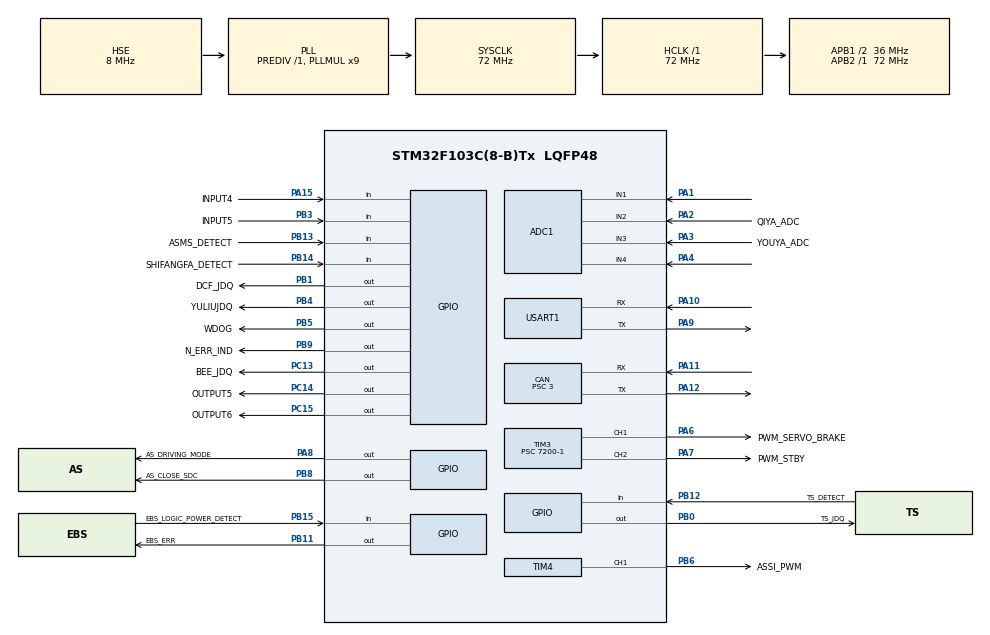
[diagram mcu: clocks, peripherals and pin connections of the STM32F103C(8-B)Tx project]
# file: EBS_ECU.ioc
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ADC1.Channel-0\#ChannelRegularConversion=ADC_CHANNEL_1
ADC1.Channel-1\#ChannelRegularConversion=ADC_CHANNEL_2
ADC1.Channel-2\#ChannelRegularConversion=ADC_CHANNEL_3
ADC1.Channel-3\#ChannelRegularConversion=ADC_CHANNEL_4
ADC1.DiscontinuousConvMode=ENABLE
ADC1.NbrOfConversion=4
ADC1.NbrOfConversionFlag=1
ADC1.Rank-0\#ChannelRegularConversion=1
ADC1.Rank-1\#ChannelRegularConversion=2
ADC1.Rank-2\#ChannelRegularConversion=3
ADC1.Rank-3\#ChannelRegularConversion=4
ADC1.SamplingTime-0\#ChannelRegularConversion=ADC_SAMPLETIME_1CYCLE_5
ADC1.SamplingTime-1\#ChannelRegularConversion=ADC_SAMPLETIME_1CYCLE_5
ADC1.SamplingTime-2\#ChannelRegularConversion=ADC_SAMPLETIME_1CYCLE_5
ADC1.SamplingTime-3\#ChannelRegularConversion=ADC_SAMPLETIME_1CYCLE_5
ADC1.master=1
CAN.AWUM=ENABLE
CAN.BS1=CAN_BS1_6TQ
CAN.BS2=CAN_BS2_5TQ
CAN.CalculateBaudRate=999999
CAN.CalculateTimeBit=1000
CAN.CalculateTimeQuantum=83.33333333333334
CAN.Mode=CAN_MODE_NORMAL
CAN.NART=ENABLE
CAN.Prescaler=3
Dma.Request0=TIM4_CH1
Dma.TIM4_CH1.0.Direction=DMA_MEMORY_TO_PERIPH
Dma.TIM4_CH1.0.Instance=DMA1_Channel1
Dma.TIM4_CH1.0.MemDataAlignment=DMA_MDATAALIGN_HALFWORD
Dma.TIM4_CH1.0.MemInc=DMA_MINC_ENABLE
Dma.TIM4_CH1.0.Mode=DMA_NORMAL
Dma.TIM4_CH1.0.PeriphDataAlignment=DMA_PDATAALIGN_HALFWORD
Dma.TIM4_CH1.0.PeriphInc=DMA_PINC_DISABLE
Dma.TIM4_CH1.0.Priority=DMA_PRIORITY_MEDIUM
Mcu.Family=STM32F1
Mcu.Name=STM32F103C(8-B)Tx
Mcu.Package=LQFP48
NVIC.DMA1_Channel1_IRQn=true\:0\:0\:false\:false\:true\:false\:true\:true
NVIC.PriorityGroup=NVIC_PRIORITYGROUP_4
NVIC.TIM3_IRQn=true\:2\:0\:true\:false\:true\:true\:true\:true
NVIC.USB_LP_CAN1_RX0_IRQn=true\:1\:0\:true\:false\:true\:true\:true\:true
PA1.Signal=ADCx_IN1
PA10.Mode=Asynchronous
PA10.Signal=USART1_RX
PA11.Mode=CAN_Activate
PA11.Signal=CAN_RX
PA12.Mode=CAN_Activate
PA12.Signal=CAN_TX
PA13.Mode=Serial_Wire
PA13.Signal=SYS_JTMS-SWDIO
PA14.Mode=Serial_Wire
PA14.Signal=SYS_JTCK-SWCLK
PA15.GPIO_Label=INPUT4
PA15.Signal=GPIO_Input
PA2.GPIO_Label=QIYA_ADC
PA2.Signal=ADCx_IN2
PA3.GPIO_Label=YOUYA_ADC
PA3.Signal=ADCx_IN3
PA4.Signal=ADCx_IN4
PA6.GPIO_Label=PWM_SERVO_BRAKE
PA6.Signal=S_TIM3_CH1
PA7.GPIO_Label=PWM_STBY
PA7.Signal=S_TIM3_CH2
PA8.GPIO_Label=AS_DRIVING_MODE
PA8.Signal=GPIO_Output
PA9.Mode=Asynchronous
PA9.Signal=USART1_TX
PB0.GPIO_Label=TS_JDQ
PB0.Signal=GPIO_Output
PB1.GPIO_Label=DCF_JDQ
PB1.GPIO_PuPd=GPIO_NOPULL
PB1.Signal=GPIO_Output
PB11.GPIO_Label=EBS_ERR
PB11.PinState=GPIO_PIN_SET
PB11.Signal=GPIO_Output
PB12.GPIO_Label=TS_DETECT
PB12.Signal=GPIO_Input
PB13.GPIO_Label=ASMS_DETECT
PB13.GPIO_PuPd=GPIO_PULLUP
PB13.Signal=GPIO_Input
PB14.GPIO_Label=SHIFANGFA_DETECT
PB14.Signal=GPIO_Input
PB15.GPIO_Label=EBS_LOGIC_POWER_DETECT
PB15.Signal=GPIO_Input
PB3.GPIO_Label=INPUT5
PB3.Signal=GPIO_Input
PB4.GPIO_Label=YULIUJDQ
PB4.Signal=GPIO_Output
PB5.GPIO_Label=WDOG
PB5.Signal=GPIO_Output
PB6.GPIO_Label=ASSI_PWM
PB6.Signal=S_TIM4_CH1
PB8.GPIO_Label=AS_CLOSE_SDC
PB8.Signal=GPIO_Output
PB9.GPIO_Label=N_ERR_IND
PB9.Signal=GPIO_Output
PC13-TAMPER-RTC.GPIO_Label=BEE_JDQ
PC13-TAMPER-RTC.Signal=GPIO_Output
PC14-OSC32_IN.GPIO_Label=OUTPUT5
PC14-OSC32_IN.Signal=GPIO_Output
PC15-OSC32_OUT.GPIO_Label=OUTPUT6
PC15-OSC32_OUT.Signal=GPIO_Output
PD0-OSC_IN.Mode=HSE-External-Oscillator
PD0-OSC_IN.Signal=RCC_OSC_IN
PD1-OSC_OUT.Mode=HSE-External-Oscillator
PD1-OSC_OUT.Signal=RCC_OSC_OUT
ProjectManager.HeapSize=0x200
ProjectManager.StackSize=0x400
ProjectManager.TargetToolchain=STM32CubeIDE
RCC.ADCPresc=RCC_ADCPCLK2_DIV6
RCC.AHBFreq_Value=72000000
RCC.APB1CLKDivider=RCC_HCLK_DIV2
RCC.APB1Freq_Value=36000000
RCC.APB1TimFreq_Value=72000000
RCC.APB2Freq_Value=72000000
RCC.APB2TimFreq_Value=72000000
RCC.HCLKFreq_Value=72000000
RCC.PLLMUL=RCC_PLL_MUL9
RCC.PLLSourceVirtual=RCC_PLLSOURCE_HSE
RCC.SYSCLKFreq_VALUE=72000000
RCC.SYSCLKSource=RCC_SYSCLKSOURCE_PLLCLK
RCC.USBFreq_Value=72000000
SH.ADCx_IN1.0=ADC1_IN1,IN1
SH.ADCx_IN2.0=ADC1_IN2,IN2
SH.ADCx_IN3.0=ADC1_IN3,IN3
SH.ADCx_IN4.0=ADC1_IN4,IN4
SH.S_TIM3_CH1.0=TIM3_CH1,PWM Generation1 CH1
SH.S_TIM3_CH2.0=TIM3_CH2,PWM Generation2 CH2
SH.S_TIM4_CH1.0=TIM4_CH1,PWM Generation1 CH1
TIM2.Period=90-1
TIM3.Channel-PWM\ Generation1\ CH1=TIM_CHANNEL_1
TIM3.Channel-PWM\ Generation2\ CH2=TIM_CHANNEL_2
TIM3.Period=100-1
TIM3.Prescaler=7200-1
TIM4.Channel-PWM\ Generation1\ CH1=TIM_CHANNEL_1
TIM4.Period=90-1
TIM4.Prescaler=0
USART1.VirtualMode=VM_ASYNC
VP_TIM2_VS_ClockSourceINT.Mode=Internal
VP_TIM3_VS_ClockSourceINT.Mode=Internal
VP_TIM4_VS_ClockSourceINT.Mode=Internal
board=custom

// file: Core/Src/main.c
/* USER CODE BEGIN Header */
/**
  ******************************************************************************
  * @file           : main.c
  * @brief          : Main program body
  ******************************************************************************
  * @attention
  *
  * Copyright (c) 2025 STMicroelectronics.
  * All rights reserved.
  *
  * This software is licensed under terms that can be found in the LICENSE file
  * in the root directory of this software component.
  * If no LICENSE file comes with this software, it is provided AS-IS.
  *
  ******************************************************************************
  */
/* USER CODE END Header */
#include "main.h"
#include "adc.h"
#include "can.h"
#include "dma.h"
#include "tim.h"
#include "usart.h"
#include "gpio.h"

/* USER CODE BEGIN Includes */
#include "stdio.h"
#include "user_can.h"
#include "user_adc.h"
#include "user_rgb.h"
#include "user_peripheral.h"
#include "user_AS_State.h"
#include "user_ebs.h"
/* USER CODE END Includes */

/* USER CODE BEGIN PV */
uint8_t EBS_Able_State=EBS_Disable;
uint16_t adc_value[4];
uint8_t AS_State=AS_OFF_Status;//状态机状态

uint8_t Sensor_State=Sensor_OK;
uint8_t YOUYA_State=YOUYA_Error;
uint8_t QIYA_State=QIYA_Error;

uint8_t EBS_to_Trigger;
uint8_t EBS_Error_to_Trigger;

volatile uint8_t Driving_Mode_From_ACU = 0;//驾驶模式，来自域控的指令 0:默认 1:手动驾驶任务 2：无人驾驶任务
//默认状态将AS_Driving_Mode引脚置1，AS_CLOSE_SDC引脚置0
//无人驾驶状态将将AS_Driving_Mode引脚置1，AS_CLOSE_SDC引脚置1
//手动驾驶状态将AS_Driving_Mode引脚置0，AS_CLOSE_SDC引脚置0
volatile uint8_t Go_valid = 0;//0:没有接收到Go信号 1:进入AS_Ready5s后接收到Go信号
volatile uint8_t Task_Finished = 0;//0:默认状态 1:接收到域控传来的任务完成消息
volatile uint8_t ASB_State = 0;//0:ASB有问题 1:没问题
volatile uint8_t TS_State=0;//0:未激活 1:激活
volatile uint8_t ASMS_State=0;//0:未激活 1:激活  无人主开关/无人回路状态
volatile uint8_t adc_to_convert = 0;//0:不转换 1:转换
volatile uint8_t Brake_Release_Status = 0;//0:制动未释放 1:制动释放(根据气压、油压)
volatile uint8_t RES_Status = 0;//0:未触发RES 1:触发RES (来自CAN总线的RES接收端消息)
volatile uint8_t Brake_Motor_State = 0;//0:制动电机有问题 1:制动电机没问题
volatile uint8_t EBS_Trigger_Reason=0;//0:正常触发 1:因为EBS_ERR触发
volatile uint8_t EBS_LOGIC_POWER_STATE=0;//0:断电 1:有电
volatile uint8_t LIDAR_Cam_MPU_State=0;//0:雷达或相机或惯导有问题 1:都没问题

volatile uint8_t blink_enabled = 0; //0 不闪烁  1蓝灯闪烁  2黄灯闪烁
volatile uint8_t BEE_enabled = 0;//0：关闭蜂鸣器 1：EBS鸣笛 2：R2D鸣笛
volatile uint8_t GO_Wait_State = 0;//0:未超过5s 1：超过5s
volatile uint8_t GO_Wait_Count_State = 0;//0:关闭GO计时 1:开始GO计时
volatile uint8_t R2D_State=0;//是否处于R2D状态 0：未处于 1：处于
volatile uint8_t EBS_BEE_STATE=0;//0:EBS不报警 1:EBS报警
volatile uint8_t EBS_Trigger_State=0;//0:EBS未触发 1:EBS触发状态
volatile uint8_t EBS_Test_State=0;//0:EBS未触发或触发未超过2s，不能进行释放检测 1:超过2s，可以进行释放检测
volatile uint8_t led_state = 0;//LED闪烁控制
volatile uint8_t BEE_Sparkle_state = 0;//蜂鸣器间歇鸣笛控制

/*定时器中断计数*/
int WDOG_num=0;
int tim3_num=0;
int tim4_num=0;

/*测试用*/
int can_intterupt=0;

int R2D_MINGDI_num=0;//R2D鸣笛持续时间计数 鸣笛持续时间1-3s
int EBS_MINGDI_num=0;//EBS鸣笛持续时间计数  鸣笛持续时间8-10s
int GO_WAIT_num=0;//进入AS_Ready后，等待AS_Driving的时间计数 等待时间5s
int R2D_num=0;//R2D鸣笛时间的计数
int EBS_BEE_num=0;//EBS鸣笛时间的计数
int BEE_Sparkle_num=0; //控制EBS鸣笛频率和占空比的计数
int ASSI_Sparkle_num=0;//控制ASSI闪烁频率和占空比的计数
int EBS_Trigger_num=0;//检测EBS触发后时间的计数

/* USER CODE END PV */

void SystemClock_Config(void);
/* USER CODE BEGIN PFP */

void EBS_Detect()
{
	//if(JITING_State==1||)
}
void User_Init()
{
	//EBS_Error_LED_Activate();
	DCF_DeActivate();
	BEE_DeActivate();
	N_ERR_IND_UP();//默认把这个引脚拉高，进入AS_OFF时也拉高，触发EBS时才拉低
}

/* USER CODE END PFP */

int main(void)
{

  /* USER CODE BEGIN 1 */
		/******中断的重写在uer_rgb.c*******/
  /* USER CODE END 1 */

  /* MCU Configuration--------------------------------------------------------*/

  /* Reset of all peripherals, Initializes the Flash interface and the Systick. */
  HAL_Init();

  /* Configure the system clock */
  SystemClock_Config();

  /* Initialize all configured peripherals */
  MX_GPIO_Init();
  MX_DMA_Init();
  MX_ADC1_Init();
  MX_CAN_Init();
  MX_TIM2_Init();
  MX_TIM3_Init();
  MX_TIM4_Init();
  MX_USART1_UART_Init();
  /* USER CODE BEGIN 2 */
  User_Init();
  CAN_Init();
  HAL_Delay(100);
  TS_State=0;
  ASMS_State=0;

  //blink_enabled=1;
  HAL_TIM_Base_Start_IT(&htim3);
  //HAL_TIM_Base_Start_IT(&htim4);
  //DCF_Activate();
//  ASSI_Yellow_Stable();
 // ASSI_Yellow_Blink();
  //ASSI_OFF();
  CAN_SendMessage(100,101);

  //ASSI_Set_Blue();
  HAL_Delay(100);

 // ASSI_Set_Blue();
  //WS2812_Update();
 /* BEE_Activate();
  HAL_Delay(100);
  BEE_DeActivate();
  HAL_Delay(100);
  DCF_Activate();
  HAL_Delay(100);
  DCF_DeActivate();
  HAL_Delay(100);*/
  /* USER CODE END 2 */

  /* Infinite loop */
  /* USER CODE BEGIN WHILE */
  while (1)
  {

     //YOUYA_QIYA_Detect();
     //EBS_Able_Detect();
     //AS_State_Detect();
	  if(adc_to_convert==1)
	  {
	  adc_to_convert=0;
	  YOUYA_QIYA_Detect();
	  }
	  //HAL_UART_Transmit(&huart1, "CAN_ReadMsg Succeed", 19, 10);

	 // ASSI_Yellow_Stable();
	 //qiya_compare();
	// youya_compare();

    /* USER CODE END WHILE */

  }
}

void SystemClock_Config(void)
{
  RCC_OscInitTypeDef RCC_OscInitStruct = {0};
  RCC_ClkInitTypeDef RCC_ClkInitStruct = {0};
  RCC_PeriphCLKInitTypeDef PeriphClkInit = {0};

  /** Initializes the RCC Oscillators according to the specified parameters
  * in the RCC_OscInitTypeDef structure.
  */
  RCC_OscInitStruct.OscillatorType = RCC_OSCILLATORTYPE_HSE;
  RCC_OscInitStruct.HSEState = RCC_HSE_ON;
  RCC_OscInitStruct.HSEPredivValue = RCC_HSE_PREDIV_DIV1;
  RCC_OscInitStruct.HSIState = RCC_HSI_ON;
  RCC_OscInitStruct.PLL.PLLState = RCC_PLL_ON;
  RCC_OscInitStruct.PLL.PLLSource = RCC_PLLSOURCE_HSE;
  RCC_OscInitStruct.PLL.PLLMUL = RCC_PLL_MUL9;
  if (HAL_RCC_OscConfig(&RCC_OscInitStruct) != HAL_OK)
  {
    Error_Handler();
  }

  /** Initializes the CPU, AHB and APB buses clocks
  */
  RCC_ClkInitStruct.ClockType = RCC_CLOCKTYPE_HCLK|RCC_CLOCKTYPE_SYSCLK
                              |RCC_CLOCKTYPE_PCLK1|RCC_CLOCKTYPE_PCLK2;
  RCC_ClkInitStruct.SYSCLKSource = RCC_SYSCLKSOURCE_PLLCLK;
  RCC_ClkInitStruct.AHBCLKDivider = RCC_SYSCLK_DIV1;
  RCC_ClkInitStruct.APB1CLKDivider = RCC_HCLK_DIV2;
  RCC_ClkInitStruct.APB2CLKDivider = RCC_HCLK_DIV1;

  if (HAL_RCC_ClockConfig(&RCC_ClkInitStruct, FLASH_LATENCY_2) != HAL_OK)
  {
    Error_Handler();
  }
  PeriphClkInit.PeriphClockSelection = RCC_PERIPHCLK_ADC;
  PeriphClkInit.AdcClockSelection = RCC_ADCPCLK2_DIV6;
  if (HAL_RCCEx_PeriphCLKConfig(&PeriphClkInit) != HAL_OK)
  {
    Error_Handler();
  }
}

void Error_Handler(void)
{
  __disable_irq();
  while (1)
  {
  }
}
